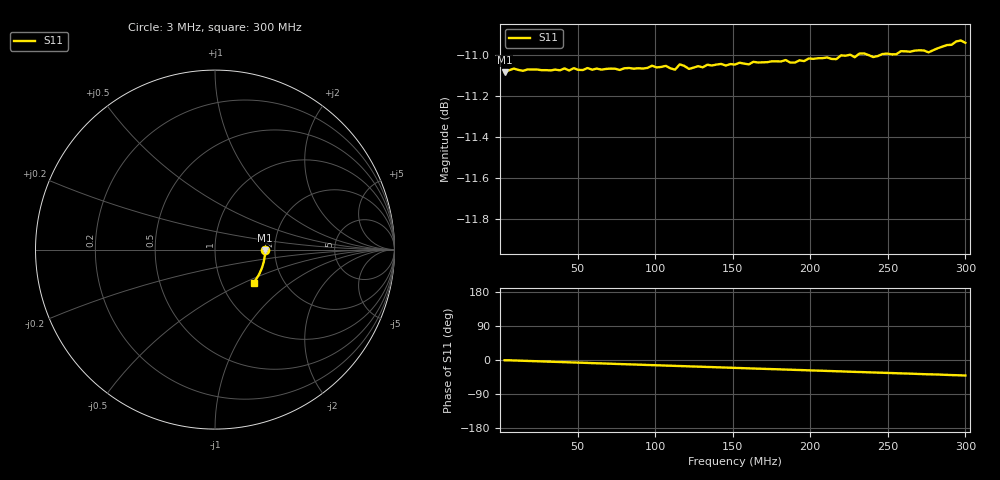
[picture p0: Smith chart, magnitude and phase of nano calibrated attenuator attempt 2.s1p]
! File created by NanoVNA (https://gen111.taobao.com/)
! Start 3000000Hz  Stop 300000000Hz  Points 101
# HZ S MA R 50
!S - Parameter data, F S11
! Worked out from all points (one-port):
!   101 points, 3 MHz to 300 MHz, reference 50 ohm
!   lowest |S11| = -11.1 dB at 3 MHz (marker M1), VSWR 1.77, Z = 88.7 - j0.614 ohm
!   |S11| at or under -10 dB: start of sweep to end of sweep
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3000000  0.2791 -0.7
5970000  0.2794 -0.7
4.161e7  0.2797 -5.7
7.725e7  0.2794 -10.7
9.804e7  0.2801 -13.5
1.0695e8  0.2801 -14.8
1.1289e8  0.2795 -15.5
1.1586e8  0.2803 -15.9
1.218e8  0.2796 -16.8
1.3368e8  0.2803 -18.4
1.515e8  0.2803 -20.8
1.8417e8  0.281 -25.2
1.9011e8  0.2806 -26.1
1.9902e8  0.2812 -27.3
2.1684e8  0.2811 -29.7
2.1981e8  0.2817 -30.0
2.2575e8  0.2818 -31.0
2.2872e8  0.2814 -31.3
2.3466e8  0.282 -32.1
2.406e8  0.2815 -32.9
2.5545e8  0.2819 -34.9
2.5842e8  0.2824 -35.3
2.6436e8  0.2823 -36.0
2.7624e8  0.2822 -37.7
2.8218e8  0.2828 -38.2
2.9109e8  0.2834 -39.8
2.9703e8  0.2841 -40.5
3e8  0.2837 -40.9
